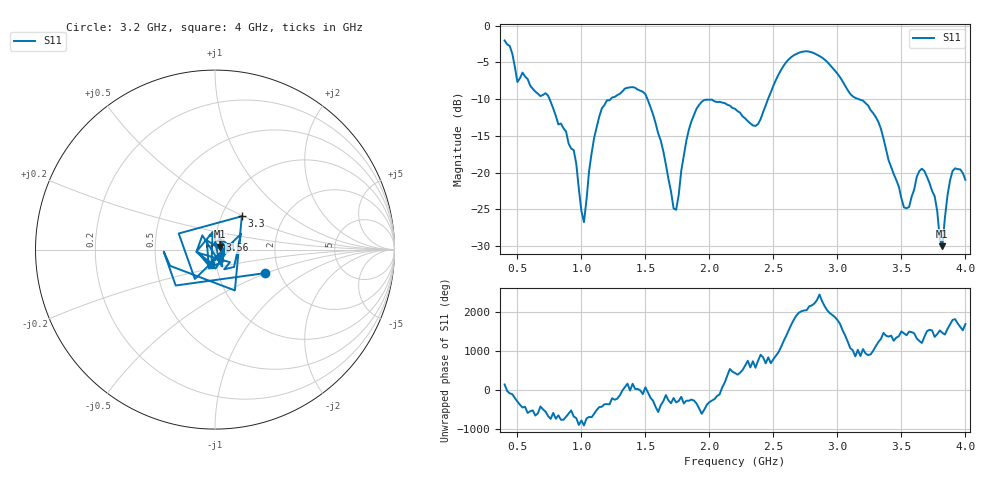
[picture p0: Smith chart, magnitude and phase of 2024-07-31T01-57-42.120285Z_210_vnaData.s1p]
!Created with skrf (http://scikit-rf.org).
# Hz S RI R 50.0
!freq ReS11 ImS11
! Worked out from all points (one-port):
!   181 points, 400 MHz to 4 GHz, reference 50 ohm
!   lowest |S11| = -30.0 dB at 3.82 GHz (marker M1), VSWR 1.07, Z = 52.7 + j1.76 ohm
!   |S11| at or under -10 dB: 751 MHz to 1.229 GHz (477.8 MHz wide, 48.3 % of centre); 1.516 GHz to 2.458 GHz (942 MHz wide, 47.4 % of centre); 3.164 GHz to end of sweep
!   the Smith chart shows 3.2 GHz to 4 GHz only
!   S11 on the Smith chart (normalised r, x): 3.2 GHz: 1.69, -0.49; 3.3 GHz: 1.24, +0.49; 3.56 GHz: 1.05, +0.11; 4 GHz: 0.95, -0.17
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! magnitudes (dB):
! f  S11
! 400 MHz  -2.0
! 500 MHz  -7.7
! 740 MHz  -9.5
! 860 MHz  -14.0
! 940 MHz  -16.9
! 1.02 GHz  -26.8
! 1.08 GHz  -17.3
! 1.14 GHz  -12.3
! 1.3 GHz  -9.3
! 1.5 GHz  -9.3
! 1.62 GHz  -15.6
! 1.72 GHz  -24.9
! 1.76 GHz  -23.1
! 1.82 GHz  -15.7
! 1.9 GHz  -11.3
! 2.2 GHz  -11.3
! 2.38 GHz  -13.4
! 2.66 GHz  -4.0
! 2.88 GHz  -4.4
! 3.1 GHz  -9.3
! 3.2 GHz  -10.2
! 3.3 GHz  -12.5
! 3.56 GHz  -24.7
! 3.68 GHz  -19.8
! 3.76 GHz  -23.2
! 3.82 GHz  -30.0
! 3.9 GHz  -19.8
! 4 GHz  -21.0
